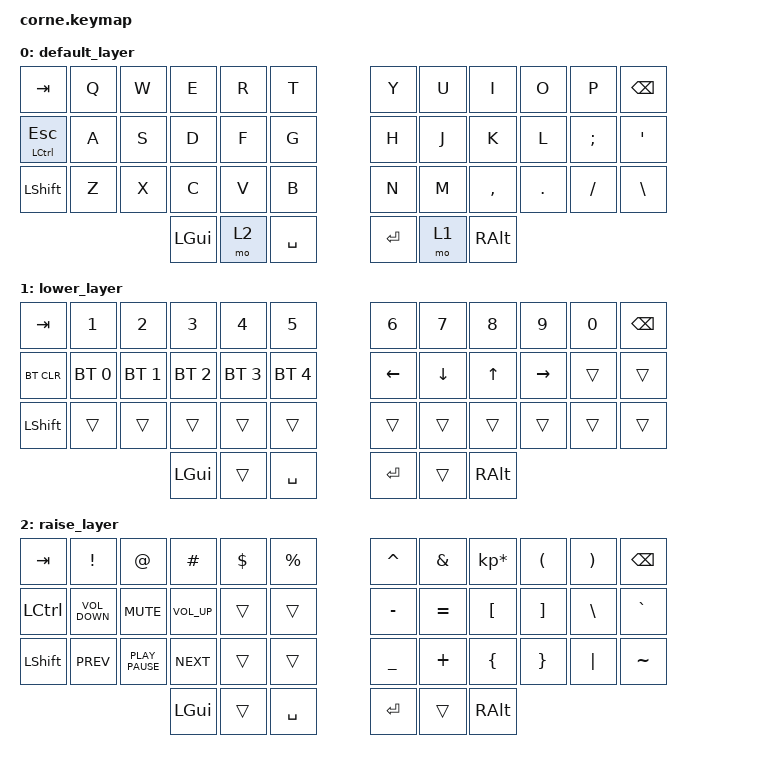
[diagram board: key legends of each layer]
/*
 * Copyright (c) 2020 The ZMK Contributors
 *
 * SPDX-License-Identifier: MIT
 */

#include <behaviors.dtsi>
#include <dt-bindings/zmk/bt.h>
#include <dt-bindings/zmk/keys.h>

/ {
    keymap {
        compatible = "zmk,keymap";

        default_layer {
            // -----------------------------------------------------------------------------------------
            // |  TAB |  Q  |  W  |  E  |  R  |  T  |   |  Y  |  U   |  I  |  O  |  P  | BKSP |
            // | CTRL |  A  |  S  |  D  |  F  |  G  |   |  H  |  J   |  K  |  L  |  ;  |  '   |
            // | SHFT |  Z  |  X  |  C  |  V  |  B  |   |  N  |  M   |  ,  |  .  |  /  | ESC  |
            //                    | GUI | LWR | SPC |   | ENT | RSE  | ALT |

            bindings = <
&kp TAB           &kp Q  &kp W  &kp E     &kp R  &kp T        &kp Y    &kp U  &kp I          &kp O    &kp P     &kp BSPC
&mt LCTRL ESCAPE  &kp A  &kp S  &kp D     &kp F  &kp G        &kp H    &kp J  &kp K          &kp L    &kp SEMI  &kp SQT
&kp LSHFT         &kp Z  &kp X  &kp C     &kp V  &kp B        &kp N    &kp M  &kp COMMA      &kp DOT  &kp FSLH  &kp BACKSLASH
                                &kp LGUI  &mo 2  &kp SPACE    &kp RET  &mo 1  &kp RIGHT_ALT
            >;
        };

        lower_layer {
            // -----------------------------------------------------------------------------------------
            // |  TAB |  1  |  2  |  3  |  4  |  5  |   |  6  |  7  |  8  |  9  |  0  | BKSP |
            // | BTCLR| BT1 | BT2 | BT3 | BT4 | BT5 |   | LFT | DWN |  UP | RGT |     |      |
            // | SHFT |     |     |     |     |     |   |     |     |     |     |     |      |
            //                    | GUI |     | SPC |   | ENT |     | ALT |

            bindings = <
&kp TAB     &kp N1        &kp N2        &kp N3        &kp N4        &kp N5          &kp N6    &kp N7    &kp N8    &kp N9     &kp N0  &kp BSPC
&bt BT_CLR  &bt BT_SEL 0  &bt BT_SEL 1  &bt BT_SEL 2  &bt BT_SEL 3  &bt BT_SEL 4    &kp LEFT  &kp DOWN  &kp UP    &kp RIGHT  &trans  &trans
&kp LSHFT   &trans        &trans        &trans        &trans        &trans          &trans    &trans    &trans    &trans     &trans  &trans
                                        &kp LGUI      &trans        &kp SPACE       &kp RET   &trans    &kp RALT
            >;
        };

        raise_layer {
            // -----------------------------------------------------------------------------------------
            // |  TAB |  !  |  @  |  #  |  $  |  %  |   |  ^  |  &  |  *  |  (  |  )  | BKSP |
            // | CTRL |     |     |     |     |     |   |  -  |  =  |  [  |  ]  |  \  |  `   |
            // | SHFT |     |     |     |     |     |   |  _  |  +  |  {  |  }  | "|" |  ~   |
            //                    | GUI |     | SPC |   | ENT |     | ALT |

            bindings = <
&kp TAB    &kp EXCL           &kp AT            &kp HASH      &kp DLLR  &kp PRCNT    &kp CARET  &kp AMPS   &kp KP_MULTIPLY  &kp LPAR  &kp RPAR  &kp BSPC
&kp LCTRL  &kp C_VOLUME_DOWN  &kp K_MUTE        &kp C_VOL_UP  &trans    &trans       &kp MINUS  &kp EQUAL  &kp LBKT         &kp RBKT  &kp BSLH  &kp GRAVE
&kp LSHFT  &kp K_PREV         &kp K_PLAY_PAUSE  &kp K_NEXT    &trans    &trans       &kp UNDER  &kp PLUS   &kp LBRC         &kp RBRC  &kp PIPE  &kp TILDE
                                                &kp LGUI      &trans    &kp SPACE    &kp RET    &trans     &kp RALT
            >;
        };
    };
};
